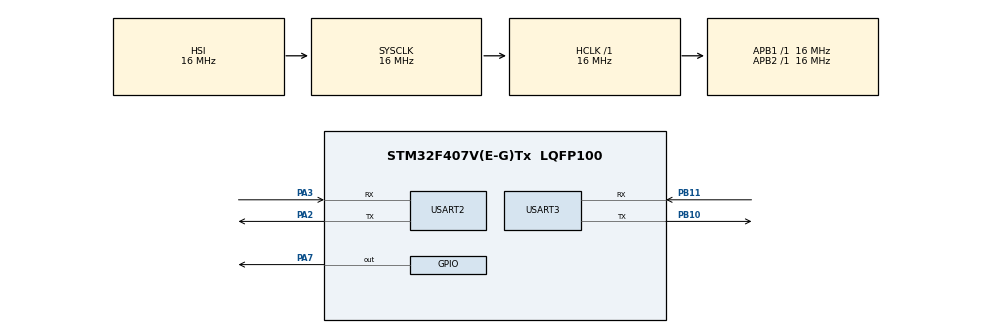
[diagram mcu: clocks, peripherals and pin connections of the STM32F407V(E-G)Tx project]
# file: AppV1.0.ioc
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Mcu.Family=STM32F4
Mcu.Name=STM32F407V(E-G)Tx
Mcu.Package=LQFP100
NVIC.PriorityGroup=NVIC_PRIORITYGROUP_4
NVIC.USART2_IRQn=true\:0\:0\:false\:false\:true\:true\:true\:true
PA2.Mode=Asynchronous
PA2.Signal=USART2_TX
PA3.Mode=Asynchronous
PA3.Signal=USART2_RX
PA7.Signal=GPIO_Output
PB10.Mode=Asynchronous
PB10.Signal=USART3_TX
PB11.Mode=Asynchronous
PB11.Signal=USART3_RX
ProjectManager.HeapSize=0x200
ProjectManager.StackSize=0x400
ProjectManager.TargetToolchain=STM32CubeIDE
RCC.AHBFreq_Value=16000000
RCC.APB1Freq_Value=16000000
RCC.APB2Freq_Value=16000000
RCC.CortexFreq_Value=16000000
RCC.HSE_VALUE=25000000
RCC.HSI_VALUE=16000000
RCC.LSE_VALUE=32768
RCC.SYSCLKFreq_VALUE=16000000
RCC.VCOOutputFreq_Value=192000000
USART2.VirtualMode=VM_ASYNC
USART3.VirtualMode=VM_ASYNC
VP_IWDG_VS_IWDG.Mode=IWDG_Activate
board=custom

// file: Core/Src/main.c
/* USER CODE BEGIN Header */
/**
  ******************************************************************************
  * @file           : main.c
  * @brief          : Main program body for Application (Refactored & CubeMX Friendly)
  ******************************************************************************
  */
/* USER CODE END Header */
#include "main.h"

/* USER CODE BEGIN Includes */
#include <stdio.h>
#include <string.h>
#include <stdbool.h>
#include "etx_ota_update.h"
/* USER CODE END Includes */

/* USER CODE BEGIN PD */
#define MAJOR 1	 //App major version number
#define MINOR 9  //App minor version number
/* USER CODE END PD */

IWDG_HandleTypeDef hiwdg;

UART_HandleTypeDef huart2;
UART_HandleTypeDef huart3;

/* USER CODE BEGIN PV */
const uint8_t App_Version[2] = {MAJOR,MINOR};
uint8_t rx_buf[4];

// Cờ báo hiệu (Flag) để chuyển xử lý từ Ngắt ra Main loop (Safe Mode)
volatile bool flag_ota_update_req = false;
volatile bool flag_system_reset_req = false;
/* USER CODE END PV */

void SystemClock_Config(void);
static void MX_GPIO_Init(void);
static void MX_USART2_UART_Init(void);
static void MX_USART3_UART_Init(void);
static void MX_IWDG_Init(void);
/* USER CODE BEGIN PFP */
static HAL_StatusTypeDef write_cfg_to_flash( ETX_GNRL_CFG_ *cfg );

// --- MODULES TÁCH RIÊNG ---
void OTA_Task_Handler(void);   // Module xử lý OTA/Reset
void App_Main_Task(void);      // Module ứng dụng chính (LED, Sensor...)
/* USER CODE END PFP */

/* USER CODE BEGIN 0 */

/**
  * @brief  Rx Transfer completed callback.
  * @param  huart UART handle.
  * @retval None
  */
void HAL_UART_RxCpltCallback(UART_HandleTypeDef *huart)
{
  if (huart->Instance == USART2)
  {
    // 1. Nhận lệnh OTA
    if( !strncmp("ota", (char*)rx_buf, 3) )
    {
       //Bật cờ
       flag_ota_update_req = true;
    }
    // 2. Nhận lệnh Check Version
    else if ( !strncmp("ver", (char*)rx_buf, 3) )
    {
        char response[32];
        sprintf(response, "Ver:%d.%d\n", MAJOR, MINOR);
        HAL_UART_Transmit(&huart2, (uint8_t*)response, strlen(response), 100);
    }
    // 3. Nhận lệnh Reset
    else if ( !strncmp("rst", (char*)rx_buf, 3) )
	{
         flag_system_reset_req = true;
	}

    // Tiếp tục nhận dữ liệu mới
    HAL_UART_Receive_IT(&huart2, rx_buf, 3);

    // Xóa buffer an toàn
    memset(rx_buf, 0, sizeof(rx_buf));
  }
}

/**
  * @brief  Module 1: Xử lý các yêu cầu hệ thống (OTA, Reset)
  * Hàm này được gọi liên tục trong Main Loop.
  */
void OTA_Task_Handler(void)
{
    // --- XỬ LÝ LỆNH RESET ---
    if (flag_system_reset_req)
    {
        printf("[SYS] Processing Reset Request...\r\n");

        HAL_IWDG_Refresh(&hiwdg);

        char *ack = "rst:ok\n";
        HAL_UART_Transmit(&huart2, (uint8_t*)ack, strlen(ack), 100);
        HAL_Delay(100);

        HAL_NVIC_SystemReset();
    }

    // --- XỬ LÝ LỆNH OTA UPDATE ---
    if (flag_ota_update_req)
    {
        printf("[SYS] Processing OTA Request...\r\n");
        HAL_IWDG_Refresh(&hiwdg);

        // Khóa ngắt để ghi Flash an toàn
        __disable_irq();

        ETX_GNRL_CFG_ cfg;
        memcpy( &cfg, (ETX_GNRL_CFG_*) (ETX_CONFIG_FLASH_ADDR), sizeof(ETX_GNRL_CFG_) );
        cfg.reboot_cause = ETX_OTA_REQUEST;

        if (write_cfg_to_flash( &cfg ) == HAL_OK)
        {
            HAL_NVIC_SystemReset();
        }
        else
        {
            __enable_irq(); // Mở lại ngắt nếu lỗi
            printf("[SYS] Config Write Error!\r\n");
            flag_ota_update_req = false; // Xóa cờ để chạy tiếp
        }
    }
}

/**
  * @brief  Module 2: Ứng dụng chính của người dùng
  */
void App_Main_Task(void)
{
    static uint32_t last_toggle = 0;

    if (HAL_GetTick() - last_toggle >= 500)
    {
        HAL_GPIO_TogglePin(GPIOA, GPIO_PIN_7);
        last_toggle = HAL_GetTick();
    }
}
/* USER CODE END 0 */

int main(void)
{
  /* USER CODE BEGIN 1 */
    // [BẮT BUỘC] Dời Vector Table về địa chỉ App
	SCB->VTOR = 0x08020000;
	__enable_irq();
  /* USER CODE END 1 */

  /* MCU Configuration--------------------------------------------------------*/

  /* Reset of all peripherals, Initializes the Flash interface and the Systick. */
  HAL_Init();

  /* Configure the system clock */
  SystemClock_Config();

  /* USER CODE BEGIN SysInit */
  __HAL_RCC_CLEAR_RESET_FLAGS();
  /* USER CODE END SysInit */

  /* Initialize all configured peripherals */
  MX_GPIO_Init();
  MX_USART2_UART_Init();
  MX_USART3_UART_Init();
  MX_IWDG_Init();
  /* USER CODE BEGIN 2 */
  printf("Starting Application (%d.%d)\n", App_Version[0], App_Version[1]);
  HAL_UART_Receive_IT(&huart2, rx_buf, 3);
  /* USER CODE END 2 */

  /* Infinite loop */
  while (1)
  {

    /* USER CODE BEGIN 3 */

      // 1. Chạy module quản lý hệ thống (OTA, Reset)
      OTA_Task_Handler();

      // 2. Chạy module ứng dụng
      App_Main_Task();

      // 3. Giám sát hệ thống (Watchdog Refresh)
      HAL_IWDG_Refresh(&hiwdg);

  }
  /* USER CODE END 3 */
}

void SystemClock_Config(void)
{
  RCC_OscInitTypeDef RCC_OscInitStruct = {0};
  RCC_ClkInitTypeDef RCC_ClkInitStruct = {0};

  /** Configure the main internal regulator output voltage
  */
  __HAL_RCC_PWR_CLK_ENABLE();
  __HAL_PWR_VOLTAGESCALING_CONFIG(PWR_REGULATOR_VOLTAGE_SCALE1);

  /** Initializes the RCC Oscillators according to the specified parameters
  * in the RCC_OscInitTypeDef structure.
  */
  RCC_OscInitStruct.OscillatorType = RCC_OSCILLATORTYPE_HSI|RCC_OSCILLATORTYPE_LSI;
  RCC_OscInitStruct.HSIState = RCC_HSI_ON;
  RCC_OscInitStruct.HSICalibrationValue = RCC_HSICALIBRATION_DEFAULT;
  RCC_OscInitStruct.LSIState = RCC_LSI_ON;
  RCC_OscInitStruct.PLL.PLLState = RCC_PLL_NONE;
  if (HAL_RCC_OscConfig(&RCC_OscInitStruct) != HAL_OK)
  {
    Error_Handler();
  }

  /** Initializes the CPU, AHB and APB buses clocks
  */
  RCC_ClkInitStruct.ClockType = RCC_CLOCKTYPE_HCLK|RCC_CLOCKTYPE_SYSCLK
                              |RCC_CLOCKTYPE_PCLK1|RCC_CLOCKTYPE_PCLK2;
  RCC_ClkInitStruct.SYSCLKSource = RCC_SYSCLKSOURCE_HSI;
  RCC_ClkInitStruct.AHBCLKDivider = RCC_SYSCLK_DIV1;
  RCC_ClkInitStruct.APB1CLKDivider = RCC_HCLK_DIV1;
  RCC_ClkInitStruct.APB2CLKDivider = RCC_HCLK_DIV1;

  if (HAL_RCC_ClockConfig(&RCC_ClkInitStruct, FLASH_LATENCY_0) != HAL_OK)
  {
    Error_Handler();
  }
}

static void MX_IWDG_Init(void)
{

  hiwdg.Instance = IWDG;
  hiwdg.Init.Prescaler = IWDG_PRESCALER_64;
  hiwdg.Init.Reload = 3000;
  if (HAL_IWDG_Init(&hiwdg) != HAL_OK)
  {
    Error_Handler();
  }

}

static void MX_USART2_UART_Init(void)
{

  huart2.Instance = USART2;
  huart2.Init.BaudRate = 115200;
  huart2.Init.WordLength = UART_WORDLENGTH_8B;
  huart2.Init.StopBits = UART_STOPBITS_1;
  huart2.Init.Parity = UART_PARITY_NONE;
  huart2.Init.Mode = UART_MODE_TX_RX;
  huart2.Init.HwFlowCtl = UART_HWCONTROL_NONE;
  huart2.Init.OverSampling = UART_OVERSAMPLING_16;
  if (HAL_UART_Init(&huart2) != HAL_OK)
  {
    Error_Handler();
  }

}

static void MX_USART3_UART_Init(void)
{

  huart3.Instance = USART3;
  huart3.Init.BaudRate = 115200;
  huart3.Init.WordLength = UART_WORDLENGTH_8B;
  huart3.Init.StopBits = UART_STOPBITS_1;
  huart3.Init.Parity = UART_PARITY_NONE;
  huart3.Init.Mode = UART_MODE_TX_RX;
  huart3.Init.HwFlowCtl = UART_HWCONTROL_NONE;
  huart3.Init.OverSampling = UART_OVERSAMPLING_16;
  if (HAL_UART_Init(&huart3) != HAL_OK)
  {
    Error_Handler();
  }

}

static void MX_GPIO_Init(void)
{
  GPIO_InitTypeDef GPIO_InitStruct = {0};

  /* GPIO Ports Clock Enable */
  __HAL_RCC_GPIOA_CLK_ENABLE();
  __HAL_RCC_GPIOB_CLK_ENABLE();

  /*Configure GPIO pin Output Level */
  HAL_GPIO_WritePin(GPIOA, GPIO_PIN_7, GPIO_PIN_RESET);

  /*Configure GPIO pin : PA7 */
  GPIO_InitStruct.Pin = GPIO_PIN_7;
  GPIO_InitStruct.Mode = GPIO_MODE_OUTPUT_PP;
  GPIO_InitStruct.Pull = GPIO_NOPULL;
  GPIO_InitStruct.Speed = GPIO_SPEED_FREQ_LOW;
  HAL_GPIO_Init(GPIOA, &GPIO_InitStruct);

}

/* USER CODE BEGIN 4 */

#ifdef __GNUC__
int __io_putchar(int ch)
#else
int fputc(int ch, FILE *f)
#endif
{
	HAL_UART_Transmit(&huart3, (uint8_t *)&ch, 1, HAL_MAX_DELAY);
	return ch;
}

static HAL_StatusTypeDef write_cfg_to_flash( ETX_GNRL_CFG_ *cfg )
{
  HAL_StatusTypeDef ret;
  do
  {
    if( cfg == NULL ) { ret = HAL_ERROR; break; }

    ret = HAL_FLASH_Unlock();
    if( ret != HAL_OK ) break;

    FLASH_WaitForLastOperation( HAL_MAX_DELAY );

    FLASH_EraseInitTypeDef EraseInitStruct;
    uint32_t SectorError;

    // Đảm bảo SECTOR_4 đúng với địa chỉ Config của bạn
    EraseInitStruct.TypeErase     = FLASH_TYPEERASE_SECTORS;
    EraseInitStruct.Sector        = FLASH_SECTOR_4;
    EraseInitStruct.NbSectors     = 1;
    EraseInitStruct.VoltageRange  = FLASH_VOLTAGE_RANGE_3;

    __HAL_FLASH_CLEAR_FLAG(FLASH_FLAG_EOP | FLASH_FLAG_OPERR | FLASH_FLAG_WRPERR | FLASH_FLAG_PGAERR | FLASH_FLAG_PGPERR);

    ret = HAL_FLASHEx_Erase( &EraseInitStruct, &SectorError );
    if( ret != HAL_OK ) break;

    uint8_t *data = (uint8_t *) cfg;
    for( uint32_t i = 0u; i < sizeof(ETX_GNRL_CFG_); i++ )
    {
      ret = HAL_FLASH_Program( FLASH_TYPEPROGRAM_BYTE, ETX_CONFIG_FLASH_ADDR + i, data[i] );
      if( ret != HAL_OK ) break;
    }

    FLASH_WaitForLastOperation( HAL_MAX_DELAY );
    if( ret != HAL_OK ) break;

    ret = HAL_FLASH_Lock();
  }while( false );

  return ret;
}

/* USER CODE END 4 */

void Error_Handler(void)
{
  __disable_irq();
  while (1)
  {
  }
}
